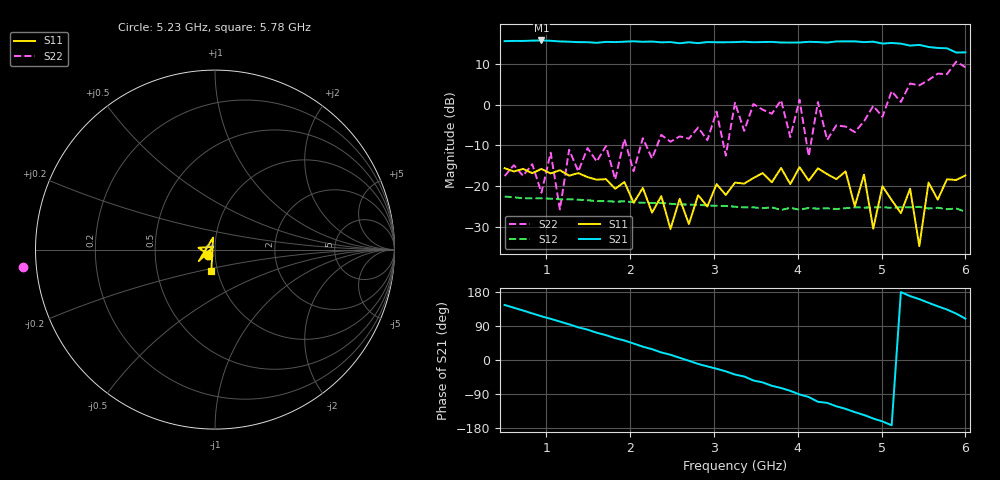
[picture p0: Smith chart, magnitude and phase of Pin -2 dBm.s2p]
! RsaToolbox (C) 2015 Rohde & Schwarz America
! Number of points: 51
! Number of ports: 2
! Balanced ports?: No
# Hz S RI R 50
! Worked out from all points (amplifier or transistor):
!   51 points, 500 MHz to 6 GHz, reference 50 ohm
!   highest |S21| = 15.7 dB at 940 MHz (marker M1)
!   |S21| within 3 dB of that: start of sweep to end of sweep
!   unconditionally stable (mu >= 1): start of sweep to 3.004 GHz; 3.046 GHz to 3.22 GHz; 4.284 GHz to 4.806 GHz (the widest 3 of 6)
!   at 1.38 GHz: K = 1.39, MAG = 15.6 dB, |S12| = -23.3 dB
!   at 3.25 GHz: K = 0.07, MSG = 20.2 dB, |S12| = -25.1 dB
!   at 6 GHz: K = -16.46, MSG = 19.5 dB, |S12| = -26.3 dB
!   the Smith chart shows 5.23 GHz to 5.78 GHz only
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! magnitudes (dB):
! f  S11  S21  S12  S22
! 500 MHz  -15.6  15.6  -22.6  -17.6
! 940 MHz  -15.8  15.7  -23.0  -21.6
! 1.16 GHz  -16.1  15.5  -23.2  -25.7
! 1.49 GHz  -17.8  15.3  -23.5  -10.7
! 1.82 GHz  -20.7  15.3  -23.8  -18.4
! 2.37 GHz  -22.5  15.3  -24.1  -7.4
! 2.48 GHz  -30.5  15.3  -24.3  -9.1
! 3.03 GHz  -19.5  15.3  -24.8  -1.7
! 3.14 GHz  -22.2  15.3  -24.9  -12.5
! 3.25 GHz  -19.1  15.3  -25.1  0.4
! 3.91 GHz  -19.5  15.2  -25.4  -8.0
! 4.02 GHz  -15.4  15.2  -25.8  1.2
! 4.13 GHz  -18.7  15.4  -25.4  -12.7
! 4.24 GHz  -15.6  15.3  -25.5  0.6
! 4.35 GHz  -17.1  15.2  -25.5  -8.7
! 4.79 GHz  -17.2  15.3  -25.3  -4.1
! 4.9 GHz  -30.5  15.4  -25.3  -0.3
! 5.12 GHz  -23.4  15.1  -25.3  3.3
! 5.34 GHz  -20.7  14.5  -25.2  5.2
! 5.45 GHz  -34.7  14.6  -25.1  4.7
! 5.56 GHz  -19.1  14.1  -25.5  6.0
! 6 GHz  -17.4  12.8  -26.3  9.2
